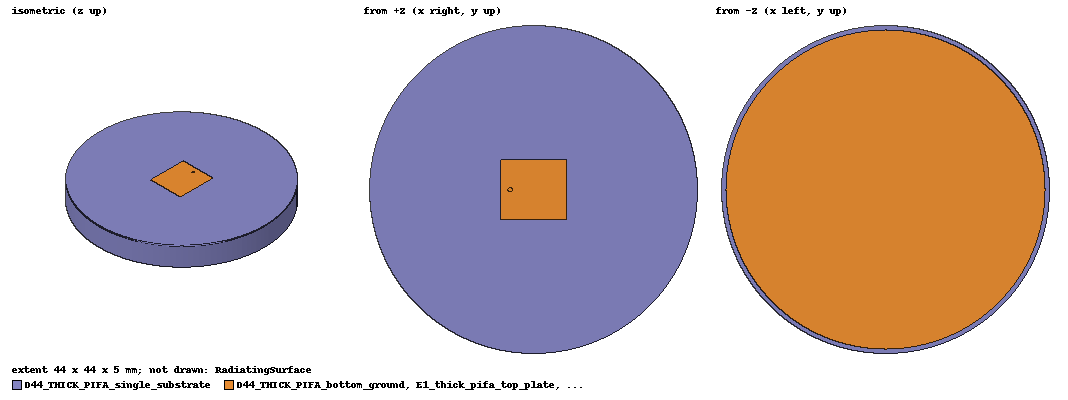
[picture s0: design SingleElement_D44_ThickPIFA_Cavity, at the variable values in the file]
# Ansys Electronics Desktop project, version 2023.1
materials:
  vacuum: permittivity=1
  RO4350B_custom_D44_Topology: permittivity=3.48 permeability=1 dielectric_loss_tangent=0.0037
  copper: permeability=0.999991 conductivity=58000000
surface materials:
  Steel-oxidised-surface

design SingleElement_D44_ThickPIFA_Cavity (HFSS, HFSS Modal Network, model units mm)
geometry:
  D44_THICK_PIFA_single_substrate [RO4350B_custom_D44_Topology] = cylinder(axis=Z, base_centre=(0mm, 0mm, 0mm), radius=22mm, height=5mm, segments=128)
  D44_THICK_PIFA_bottom_ground [copper] = circle(normal=Z, centre=(0mm, 0mm, 0mm), radius=21.4mm, segments=128)
  E1_thick_pifa_top_plate [copper] = polyline(z=5mm, xy in mm: (-4.4, -4) (4.4, -4) (4.4, 4) (-4.4, 4) (-4.4, -4), closed, covered)
  E1_thick_pifa_short_wall [copper] = polyline(x=-4.4mm, yz in mm: (-1.2, 0) (1.2, 0) (1.2, 5) (-1.2, 5) (-1.2, 0), closed, covered)
  E1_thick_pifa_side_fence_pos [copper] = polyline(y=4mm, xz in mm: (-4.4, 0) (-0.2, 0) (-0.2, 5) (-4.4, 5) (-4.4, 0), closed, covered)
  E1_thick_pifa_side_fence_neg [copper] = polyline(y=-4mm, xz in mm: (-4.4, 0) (-0.2, 0) (-0.2, 5) (-4.4, 5) (-4.4, 0), closed, covered)
  E1_thick_pifa_open_edge_lip [copper] = polyline(x=4.4mm, yz in mm: (-0.6, 4.2) (0.6, 4.2) (0.6, 5) (-0.6, 5) (-0.6, 4.2), closed, covered)
  P1_feed_pad [copper] = circle(normal=Z, centre=(-3.15mm, 0mm, 5mm), radius=0.3mm, segments=36)
  P1_lumped_port_sheet = polyline(x=-3.15mm, yz in mm: (-0.275, 0) (0.275, 0) (0.275, 5) (-0.275, 5) (-0.275, 0), closed, covered)
  RadiatingSurface [vacuum] = region(absolute_offset=14.285714mm on all sides)
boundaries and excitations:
  D44_THICK_PIFA_PEC_metallization: Perfect E Objects=[D44_THICK_PIFA_bottom_ground, E1_thick_pifa_top_plate, E1_thick_pifa_short_wall, E1_thick_pifa_side_fence_pos, E1_thick_pifa_side_fence_neg, E1_thick_pifa_open_edge_lip, P1_feed_pad]
  Open1: Radiation Objects=RadiatingSurface
  P1: Lumped Port Objects=P1_lumped_port_sheet LumpedPortType=Modal Modes{Mode1{IntLine{(-3.15, 0, 5) -> (-3.15, 0, 0)} CharImp=Zpi RenormImp=50ohm}} Impedance=50ohm
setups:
  Setup_CH9: HfssDriven Frequency=8GHz MaxDeltaS=0.03 MaximumPasses=5 MinimumPasses=2 MinimumConvergedPasses=1 PercentRefinement=30 BasisOrder=1 PortAccuracy=2 DrivenSolverType="Direct Solver"
    sweep Sweep_CH9: point 8GHz; SaveSingleField Type=Discrete SaveFields SaveRadFields
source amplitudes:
  P1:1: 1W 0deg
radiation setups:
  3D: Infinite Sphere Theta=0deg..180deg step 2deg Phi=-180deg..180deg step 2deg
  Elevation: Infinite Sphere Theta=-180deg..180deg step 1deg Phi=0deg..90deg step 90deg
  Azimuth: Infinite Sphere Theta=90deg..90deg step 0deg Phi=-180deg..180deg step 1deg
  Upper_Hemisphere_5deg: Infinite Sphere Theta=0deg..360deg step 5deg Phi=0deg..90deg step 5deg
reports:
  D44_THICK_PIFA_SINGLE_S_Parameters: dB(S(P1:1,P1:1)) vs Freq on Setup_CH9 : Sweep_CH9
  D44_THICK_PIFA_SINGLE_GainTotal_8GHz: dB(GainTotal) vs Phi, Theta on Setup_CH9 : Sweep_CH9, Upper_Hemisphere_5deg [Freq=8GHz]
  D44_THICK_PIFA_SINGLE_AxialRatio_8GHz: AxialRatioValue vs Phi, Theta on Setup_CH9 : Sweep_CH9, Upper_Hemisphere_5deg [Freq=8GHz]
